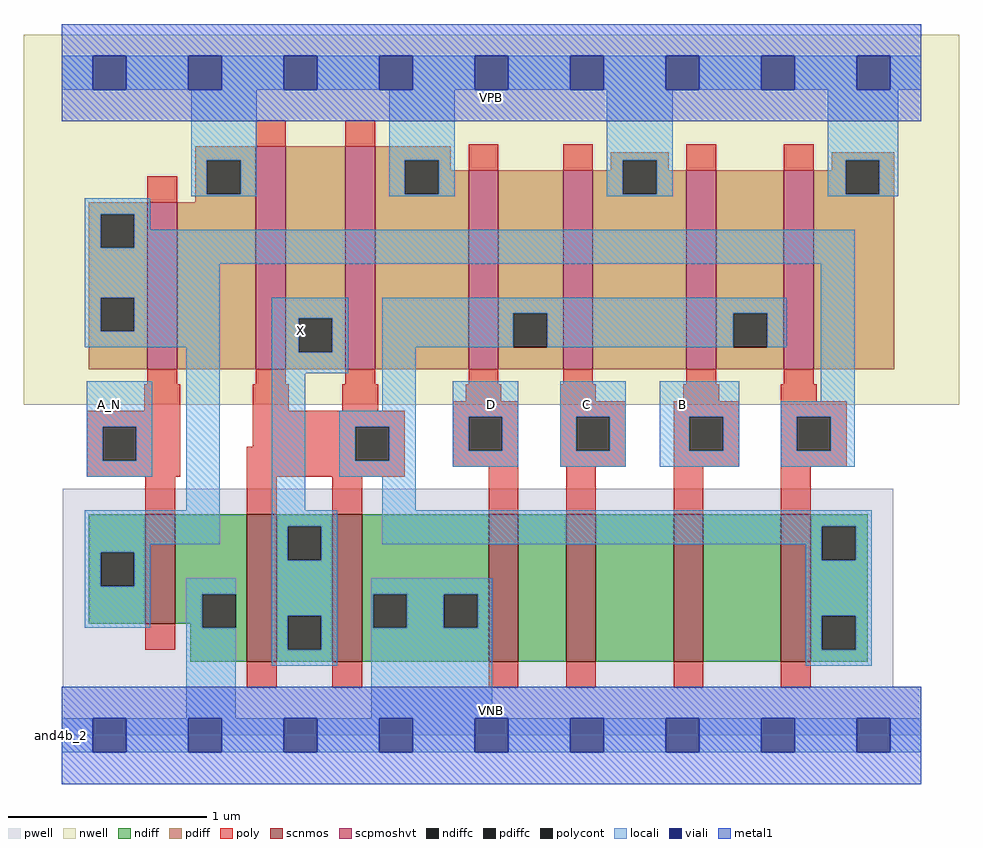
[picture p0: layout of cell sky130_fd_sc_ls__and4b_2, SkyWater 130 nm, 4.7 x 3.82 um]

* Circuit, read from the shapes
.subckt sky130_fd_sc_ls__and4b_2 A_N B C D VGND VNB VPB VPWR X
XM1 VGND A_N n1 VNB sky130_fd_pr__nfet_01v8 w=0.55 l=0.15
XM2 X n2 VGND VNB sky130_fd_pr__nfet_01v8 w=0.74 l=0.15 m=2
XM3 n3 D VGND VNB sky130_fd_pr__nfet_01v8 w=0.74 l=0.15
XM4 n4 C n3 VNB sky130_fd_pr__nfet_01v8 w=0.74 l=0.15
XM5 n5 B n4 VNB sky130_fd_pr__nfet_01v8 w=0.74 l=0.15
XM6 n2 n1 n5 VNB sky130_fd_pr__nfet_01v8 w=0.74 l=0.15
XM7 VPWR A_N n1 VPB sky130_fd_pr__pfet_01v8_hvt w=0.84 l=0.15
XM8 X n2 VPWR VPB sky130_fd_pr__pfet_01v8_hvt w=1.12 l=0.15 m=2
XM9 n2 D VPWR VPB sky130_fd_pr__pfet_01v8_hvt w=1 l=0.15
XM10 VPWR C n2 VPB sky130_fd_pr__pfet_01v8_hvt w=1 l=0.15
XM11 n2 B VPWR VPB sky130_fd_pr__pfet_01v8_hvt w=1 l=0.15
XM12 VPWR n1 n2 VPB sky130_fd_pr__pfet_01v8_hvt w=1 l=0.15
.ends

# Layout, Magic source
magic
tech sky130A
magscale 1 2
<< nwell >>
rect -38 332 902 704
<< pwell >>
rect 1 49 836 248
rect 0 0 864 49
<< scnmos >>
rect 84 112 114 222
rect 186 74 216 222
rect 272 74 302 222
rect 429 74 459 222
rect 507 74 537 222
rect 615 74 645 222
rect 723 74 753 222
<< scpmoshvt >>
rect 86 368 116 536
rect 195 368 225 592
rect 285 368 315 592
rect 409 368 439 568
rect 504 368 534 568
rect 628 368 658 568
rect 726 368 756 568
<< ndiff >>
rect 27 184 84 222
rect 27 150 39 184
rect 73 150 84 184
rect 27 112 84 150
rect 114 142 186 222
rect 114 112 141 142
rect 129 108 141 112
rect 175 108 186 142
rect 129 74 186 108
rect 216 210 272 222
rect 216 176 227 210
rect 261 176 272 210
rect 216 120 272 176
rect 216 86 227 120
rect 261 86 272 120
rect 216 74 272 86
rect 302 142 429 222
rect 302 108 313 142
rect 347 108 384 142
rect 418 108 429 142
rect 302 74 429 108
rect 459 74 507 222
rect 537 74 615 222
rect 645 74 723 222
rect 753 210 810 222
rect 753 176 764 210
rect 798 176 810 210
rect 753 120 810 176
rect 753 86 764 120
rect 798 86 810 120
rect 753 74 810 86
<< pdiff >>
rect 134 578 195 592
rect 134 544 146 578
rect 180 544 195 578
rect 134 536 195 544
rect 27 524 86 536
rect 27 490 39 524
rect 73 490 86 524
rect 27 440 86 490
rect 27 406 39 440
rect 73 406 86 440
rect 27 368 86 406
rect 116 368 195 536
rect 225 419 285 592
rect 225 385 238 419
rect 272 385 285 419
rect 225 368 285 385
rect 315 578 391 592
rect 315 544 345 578
rect 379 568 391 578
rect 552 578 610 586
rect 552 568 564 578
rect 379 544 409 568
rect 315 368 409 544
rect 439 424 504 568
rect 439 390 454 424
rect 488 390 504 424
rect 439 368 504 390
rect 534 544 564 568
rect 598 568 610 578
rect 774 578 837 586
rect 774 568 788 578
rect 598 544 628 568
rect 534 368 628 544
rect 658 424 726 568
rect 658 390 675 424
rect 709 390 726 424
rect 658 368 726 390
rect 756 544 788 568
rect 822 544 837 578
rect 756 368 837 544
<< ndiffc >>
rect 39 150 73 184
rect 141 108 175 142
rect 227 176 261 210
rect 227 86 261 120
rect 313 108 347 142
rect 384 108 418 142
rect 764 176 798 210
rect 764 86 798 120
<< pdiffc >>
rect 146 544 180 578
rect 39 490 73 524
rect 39 406 73 440
rect 238 385 272 419
rect 345 544 379 578
rect 454 390 488 424
rect 564 544 598 578
rect 675 390 709 424
rect 788 544 822 578
<< poly >>
rect 195 592 225 618
rect 285 592 315 618
rect 86 536 116 562
rect 409 568 439 594
rect 504 568 534 594
rect 628 568 658 594
rect 726 568 756 594
rect 86 353 116 368
rect 195 353 225 368
rect 285 353 315 368
rect 409 353 439 368
rect 504 353 534 368
rect 628 353 658 368
rect 726 353 756 368
rect 83 326 119 353
rect 25 310 119 326
rect 25 276 41 310
rect 75 276 119 310
rect 192 326 228 353
rect 282 326 318 353
rect 406 336 442 353
rect 501 336 537 353
rect 625 336 661 353
rect 723 336 759 353
rect 192 310 345 326
rect 192 290 295 310
rect 25 260 119 276
rect 186 276 295 290
rect 329 276 345 310
rect 186 260 345 276
rect 393 320 459 336
rect 393 286 409 320
rect 443 286 459 320
rect 393 270 459 286
rect 501 320 567 336
rect 501 286 517 320
rect 551 286 567 320
rect 501 270 567 286
rect 615 320 681 336
rect 615 286 631 320
rect 665 286 681 320
rect 615 270 681 286
rect 723 320 789 336
rect 723 286 739 320
rect 773 286 789 320
rect 723 270 789 286
rect 84 222 114 260
rect 186 222 216 260
rect 272 222 302 260
rect 429 222 459 270
rect 507 222 537 270
rect 615 222 645 270
rect 723 222 753 270
rect 84 86 114 112
rect 186 48 216 74
rect 272 48 302 74
rect 429 48 459 74
rect 507 48 537 74
rect 615 48 645 74
rect 723 48 753 74
<< polycont >>
rect 41 276 75 310
rect 295 276 329 310
rect 409 286 443 320
rect 517 286 551 320
rect 631 286 665 320
rect 739 286 773 320
<< locali >>
rect 0 649 31 683
rect 65 649 127 683
rect 161 649 223 683
rect 257 649 319 683
rect 353 649 415 683
rect 449 649 511 683
rect 545 649 607 683
rect 641 649 703 683
rect 737 649 799 683
rect 833 649 864 683
rect 130 578 196 649
rect 130 544 146 578
rect 180 544 196 578
rect 130 542 196 544
rect 329 578 395 649
rect 329 544 345 578
rect 379 544 395 578
rect 329 542 395 544
rect 548 578 614 649
rect 548 544 564 578
rect 598 544 614 578
rect 548 542 614 544
rect 770 578 841 649
rect 770 544 788 578
rect 822 544 841 578
rect 770 542 841 544
rect 23 524 89 540
rect 23 490 39 524
rect 73 508 89 524
rect 73 490 797 508
rect 23 474 797 490
rect 23 440 159 474
rect 23 406 39 440
rect 73 406 159 440
rect 23 390 159 406
rect 25 310 91 356
rect 25 276 41 310
rect 75 276 91 310
rect 25 260 91 276
rect 125 226 159 390
rect 23 192 159 226
rect 211 419 288 440
rect 211 385 238 419
rect 272 385 288 419
rect 211 364 288 385
rect 322 424 729 440
rect 322 390 454 424
rect 488 390 675 424
rect 709 390 729 424
rect 211 226 245 364
rect 322 326 356 390
rect 279 310 356 326
rect 279 276 295 310
rect 329 276 356 310
rect 279 260 356 276
rect 393 320 459 356
rect 393 286 409 320
rect 443 286 459 320
rect 393 270 459 286
rect 501 320 567 356
rect 501 286 517 320
rect 551 286 567 320
rect 501 270 567 286
rect 601 320 681 356
rect 763 336 797 474
rect 601 286 631 320
rect 665 286 681 320
rect 601 270 681 286
rect 723 320 797 336
rect 723 286 739 320
rect 773 286 797 320
rect 723 270 797 286
rect 322 226 356 260
rect 211 210 277 226
rect 23 184 89 192
rect 23 150 39 184
rect 73 150 89 184
rect 211 176 227 210
rect 261 176 277 210
rect 322 210 814 226
rect 322 192 764 210
rect 23 108 89 150
rect 125 142 175 158
rect 125 108 141 142
rect 125 17 175 108
rect 211 120 277 176
rect 748 176 764 192
rect 798 176 814 210
rect 211 86 227 120
rect 261 86 277 120
rect 211 70 277 86
rect 311 142 433 158
rect 311 108 313 142
rect 347 108 384 142
rect 418 108 433 142
rect 311 17 433 108
rect 748 120 814 176
rect 748 86 764 120
rect 798 86 814 120
rect 748 70 814 86
rect 0 -17 31 17
rect 65 -17 127 17
rect 161 -17 223 17
rect 257 -17 319 17
rect 353 -17 415 17
rect 449 -17 511 17
rect 545 -17 607 17
rect 641 -17 703 17
rect 737 -17 799 17
rect 833 -17 864 17
<< viali >>
rect 31 649 65 683
rect 127 649 161 683
rect 223 649 257 683
rect 319 649 353 683
rect 415 649 449 683
rect 511 649 545 683
rect 607 649 641 683
rect 703 649 737 683
rect 799 649 833 683
rect 31 -17 65 17
rect 127 -17 161 17
rect 223 -17 257 17
rect 319 -17 353 17
rect 415 -17 449 17
rect 511 -17 545 17
rect 607 -17 641 17
rect 703 -17 737 17
rect 799 -17 833 17
<< metal1 >>
rect 0 683 864 715
rect 0 649 31 683
rect 65 649 127 683
rect 161 649 223 683
rect 257 649 319 683
rect 353 649 415 683
rect 449 649 511 683
rect 545 649 607 683
rect 641 649 703 683
rect 737 649 799 683
rect 833 649 864 683
rect 0 617 864 649
rect 0 17 864 49
rect 0 -17 31 17
rect 65 -17 127 17
rect 161 -17 223 17
rect 257 -17 319 17
rect 353 -17 415 17
rect 449 -17 511 17
rect 545 -17 607 17
rect 641 -17 703 17
rect 737 -17 799 17
rect 833 -17 864 17
rect 0 -49 864 -17
<< labels >>
rlabel comment s 0 0 0 0 4 and4b_2
flabel pwell s 0 0 864 49 0 FreeSans 200 0 0 0 VNB
port 6 nsew ground bidirectional
flabel nwell s 0 617 864 666 0 FreeSans 200 0 0 0 VPB
port 7 nsew power bidirectional
flabel metal1 s 0 617 864 666 0 FreeSans 340 0 0 0 VPWR
port 8 nsew power bidirectional abutment
flabel metal1 s 0 0 864 49 0 FreeSans 340 0 0 0 VGND
port 5 nsew ground bidirectional abutment
flabel locali s 223 390 257 424 0 FreeSans 340 0 0 0 X
port 9 nsew signal output
flabel locali s 31 316 65 350 0 FreeSans 340 0 0 0 A_N
port 1 nsew signal input
flabel locali s 415 316 449 350 0 FreeSans 340 0 0 0 D
port 4 nsew signal input
flabel locali s 511 316 545 350 0 FreeSans 340 0 0 0 C
port 3 nsew signal input
flabel locali s 607 316 641 350 0 FreeSans 340 0 0 0 B
port 2 nsew signal input
<< properties >>
string LEFsite unit
string LEFclass CORE
string FIXED_BBOX 0 0 864 666
string GDS_FILE $PDKPATH/libs.ref/sky130_fd_sc_ls/gds/sky130_fd_sc_ls.gds
string LEFsymmetry X Y
string GDS_END 3145404
string GDS_START 3138806
<< end >>
